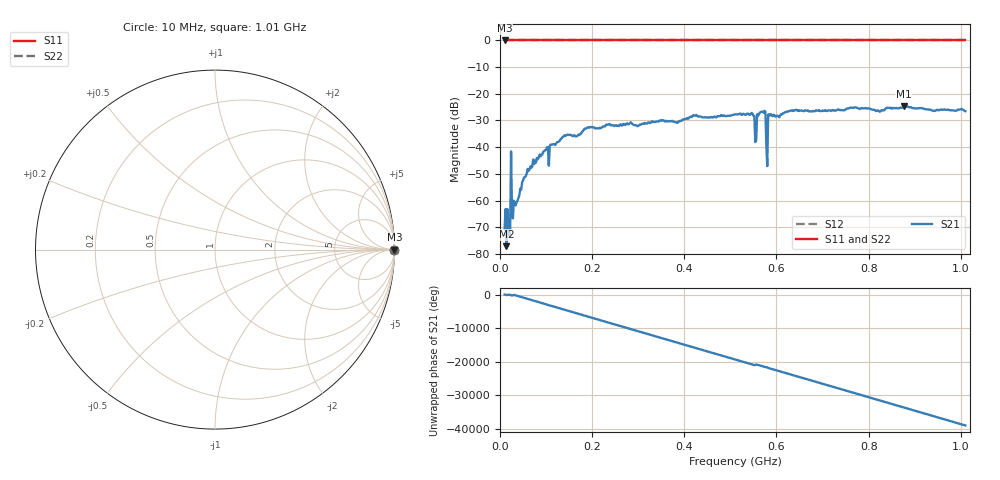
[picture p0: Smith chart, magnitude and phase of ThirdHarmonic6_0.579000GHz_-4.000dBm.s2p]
! 8/15/2025 6:40:27 PM
! C:\ANRITSUVNA\TEMP\TEMP.S2P
! CHANNEL.1
! TR.MEASUREMENT
! RAW.DATA
! RF.CORRECTION.OFF
! AVERAGING.OFF
! IF.BANDWIDTH: 5KHZ
! SWEEPTYPE:  FREQ.SWEEP(Linear)
! Reference Plane Port Info
! PORT:  PORT1  PORT2
! DISTANCE:  0  m  0  m
! TIME:  0  s  0  s
! PHASE.OFFSET:  0  deg.  0  deg.
! LOSS:  0  dB  0  dB
! REF.LOSS:  0  dB  0  dB
! REF.FREQ:  0  Hz  0  Hz
! Power Info
! POWER:  -20  dBm  -20  dBm
! EFF.POWER:  -20  dBm  -20  dBm
! SOURCE.ATTEN:  0  dB  0  dB
! TEST.ATTEN:  0  dB  0  dB
# GHZ S RI R 50.0
! FREQ.GHZ  S11RE  S11IM  S21RE  S21IM  S12RE  S12IM  S22RE  S22IM
!; PortSelection: Port_12
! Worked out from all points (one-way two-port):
!   501 points, 10 MHz to 1.01 GHz, reference 50 ohm
!   highest |S21| = -24.64 dB at 876 MHz (marker M1); lowest = -77.1 dB at 14 MHz (marker M2)
!   lowest |S11| = 0.0 dB at 10 MHz (marker M3)
!   |S11| at or under -10 dB: nowhere
!   |S22| runs from 0.0 to 0.0 dB; largest |S21 - S12| = 1.1
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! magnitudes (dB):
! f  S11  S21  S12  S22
! 10 MHz  0.0  -70.6  0.0  0.0
! 14 MHz  0.0  -77.1  0.0  0.0
! 18 MHz  0.0  -69.3  0.0  0.0
! 20 MHz  0.0  -73.3  0.0  0.0
! 28 MHz  0.0  -66.7  0.0  0.0
! 30 MHz  0.0  -60.1  0.0  0.0
! 76 MHz  0.0  -45.1  0.0  0.0
! 140 MHz  0.0  -35.5  0.0  0.0
! 178 MHz  0.0  -34.3  0.0  0.0
! 344 MHz  0.0  -30.4  0.0  0.0
! 510 MHz  0.0  -27.7  0.0  0.0
! 548 MHz  0.0  -27.5  0.0  0.0
! 556 MHz  0.0  -37.6  0.0  0.0
! 562 MHz  0.0  -27.7  0.0  0.0
! 572 MHz  0.0  -27.1  0.0  0.0
! 576 MHz  0.0  -26.7  0.0  0.0
! 582 MHz  0.0  -27.8  0.0  0.0
! 586 MHz  0.0  -28.1  0.0  0.0
! 678 MHz  0.0  -26.6  0.0  0.0
! 844 MHz  0.0  -25.3  0.0  0.0
! 876 MHz  0.0  -24.6  0.0  0.0
! 1.01 GHz  0.0  -26.5  0.0  0.0
